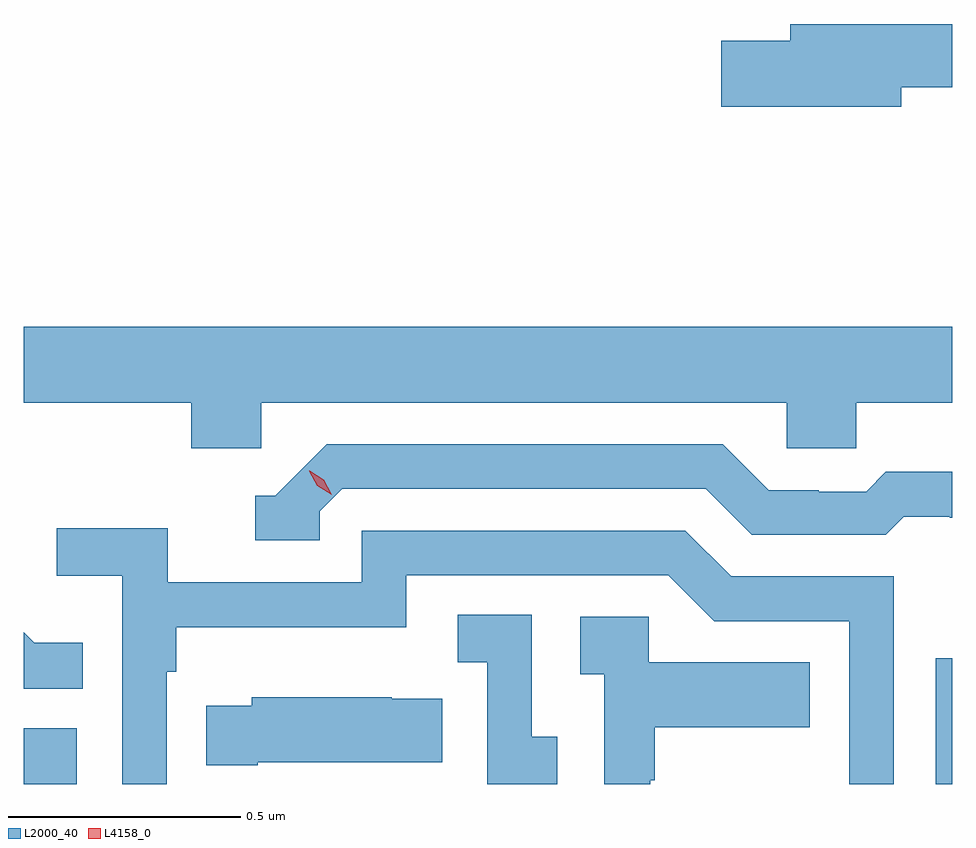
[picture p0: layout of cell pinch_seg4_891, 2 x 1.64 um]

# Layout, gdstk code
import gdstk
lib = gdstk.Library(unit=1e-6, precision=1e-09)
def R(c, l, rs):  # rectangles x0, y0, x1, y1
    for r in rs: c.add(gdstk.rectangle(r[:2], r[2:], *l))
def P(c, l, *ps):  # polygons
    for p in ps: c.add(gdstk.Polygon(p, *l))
L2000_40 = (2000, 40)
L4158_0 = (4158, 0)

pinch_seg4_891 = lib.new_cell('pinch_seg4_891')
R(pinch_seg4_891, L2000_40, [(888.22,793.335,888.334,793.455), (890.184,793.335,890.22,793.606)])
P(pinch_seg4_891, L2000_40, [(890.11,794.836),(890.22,794.836),(890.22,794.972),(889.871,794.972),(889.871,794.936),(889.722,794.936),(889.722,794.794),(890.11,794.794)],
  [(888.732,794.156),(889.863,794.156),(889.863,794.058),(890.013,794.058),(890.013,794.156),(890.22,794.156),(890.22,794.32),(888.22,794.32),(888.22,794.156),(888.581,794.156),(888.581,794.058),(888.732,794.058)],
  [(888.858,793.923),(888.906,793.971),(889.689,793.971),(889.788,793.872),(890.077,793.872),(890.116,793.911),(890.215,793.911),(890.215,793.908),(890.22,793.908),(890.22,794.008),(890.077,794.008),(890.035,793.965),(889.932,793.965),(889.932,793.968),(889.825,793.968),(889.726,794.067),(888.873,794.067),(888.762,793.956),(888.719,793.956),(888.719,793.86),(888.858,793.86)],
  [(888.528,793.577),(888.548,793.577),(888.548,793.673),(889.044,793.673),(889.044,793.785),(889.608,793.785),(889.707,793.686),(889.998,793.686),(889.998,793.335),(890.094,793.335),(890.094,793.782),(889.744,793.782),(889.645,793.881),(888.948,793.881),(888.948,793.77),(888.53,793.77),(888.53,793.886),(888.291,793.886),(888.291,793.784),(888.432,793.784),(888.432,793.335),(888.528,793.335)],
  [(889.369,793.437),(889.314,793.437),(889.314,793.7),(889.155,793.7),(889.155,793.597),(889.218,793.597),(889.218,793.335),(889.369,793.335)],
  [(889.569,793.343),(889.579,793.343),(889.579,793.457),(889.913,793.457),(889.913,793.597),(889.566,793.597),(889.566,793.695),(889.419,793.695),(889.419,793.571),(889.47,793.571),(889.47,793.335),(889.569,793.335)],
  [(888.347,793.639),(888.243,793.639),(888.22,793.662),(888.22,793.54),(888.347,793.54)],
  [(888.724,793.382),(889.121,793.382),(889.121,793.519),(889.013,793.519),(889.013,793.522),(888.711,793.522),(888.711,793.504),(888.613,793.504),(888.613,793.375),(888.724,793.375)])
P(pinch_seg4_891, L4158_0, [(888.883,793.958),(888.852,793.977),(888.835,794.009),(888.835,794.01),(888.836,794.01),(888.866,793.99),(888.883,793.958),(888.883,793.958)])

lib.write_gds('pinch_seg4_891.gds')
